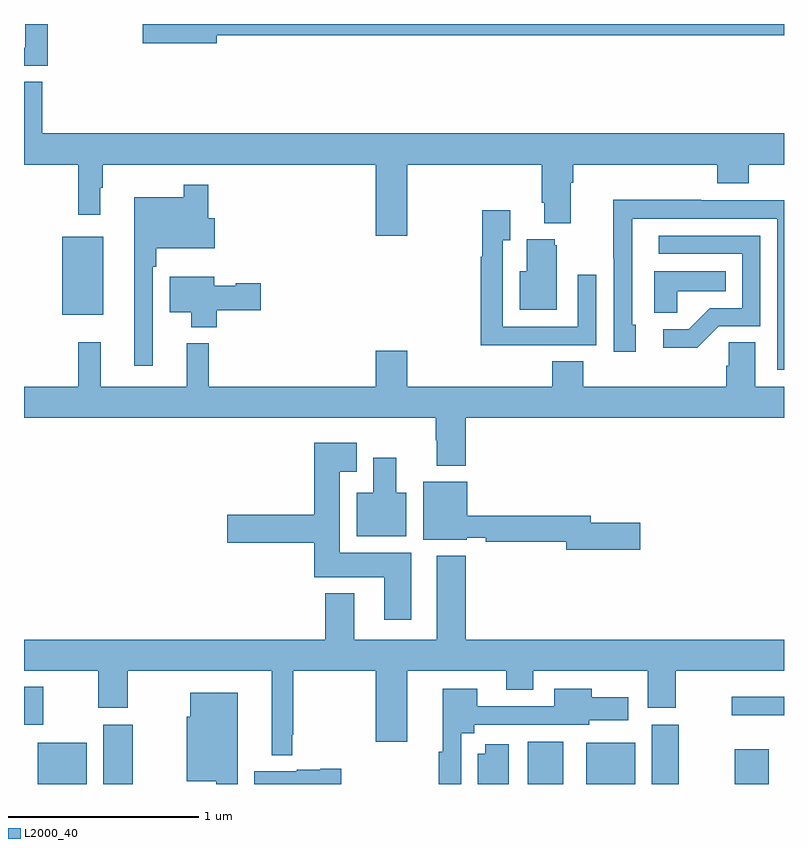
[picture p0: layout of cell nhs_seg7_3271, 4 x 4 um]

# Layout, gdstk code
import gdstk
lib = gdstk.Library(unit=1e-6, precision=1e-09)
def R(c, l, rs):  # rectangles x0, y0, x1, y1
    for r in rs: c.add(gdstk.rectangle(r[:2], r[2:], *l))
def P(c, l, *ps):  # polygons
    for p in ps: c.add(gdstk.Polygon(p, *l))
L2000_40 = (2000, 40)

nhs_seg7_3271 = lib.new_cell('nhs_seg7_3271')
R(nhs_seg7_3271, L2000_40, [(319.073,1020,319.33,1020.217), (319.418,1020,319.573,1020.313), (321.65,1020,321.838,1020.223), (321.959,1020,322.216,1020.217), (322.304,1020,322.446,1020.313), (322.742,1020,322.921,1020.184), (319,1020.312,319.101,1020.511), (322.725,1020.363,323,1020.46), (319.202,1022.471,319.417,1022.881)])
P(nhs_seg7_3271, L2000_40, [(319.126,1024),(319.007,1024),(319.007,1023.876),(319,1023.876),(319,1023.78),(319.126,1023.78)],
  [(320.014,1023.94),(323,1023.94),(323,1024),(319.626,1024),(319.626,1023.898),(320.014,1023.898)],
  [(319.096,1023.695),(319,1023.695),(319,1023.26),(319.285,1023.26),(319.285,1022.997),(319.402,1022.997),(319.402,1023.137),(319.414,1023.137),(319.414,1023.26),(320.852,1023.26),(320.852,1022.886),(321.016,1022.886),(321.016,1023.26),(321.725,1023.26),(321.725,1023.058),(321.737,1023.058),(321.737,1022.951),(321.877,1022.951),(321.877,1023.164),(321.89,1023.164),(321.89,1023.26),(322.649,1023.26),(322.649,1023.161),(322.814,1023.161),(322.814,1023.26),(323,1023.26),(323,1023.424),(319.096,1023.424)],
  [(319.677,1022.723),(319.697,1022.723),(319.697,1022.819),(320.005,1022.819),(320.005,1022.977),(319.97,1022.977),(319.97,1023.154),(319.842,1023.154),(319.842,1023.088),(319.58,1023.088),(319.58,1022.202),(319.677,1022.202)],
  [(323,1023.072),(322.565,1023.072),(322.565,1023.074),(322.102,1023.074),(322.102,1022.767),(322.104,1022.767),(322.104,1022.274),(322.219,1022.274),(322.219,1022.418),(322.2,1022.418),(322.2,1022.976),(322.965,1022.976),(322.965,1022.181),(323,1022.181)],
  [(321.695,1022.31),(322.011,1022.31),(322.011,1022.68),(321.915,1022.68),(321.915,1022.406),(321.519,1022.406),(321.519,1022.863),(321.559,1022.863),(321.559,1023.019),(321.411,1023.019),(321.411,1022.774),(321.403,1022.774),(321.403,1022.309),(321.695,1022.309)],
  [(322.656,1022.409),(322.875,1022.409),(322.875,1022.886),(322.341,1022.886),(322.341,1022.79),(322.779,1022.79),(322.779,1022.505),(322.61,1022.505),(322.499,1022.394),(322.365,1022.394),(322.365,1022.297),(322.543,1022.297)],
  [(321.805,1022.835),(321.794,1022.835),(321.794,1022.866),(321.647,1022.866),(321.647,1022.698),(321.608,1022.698),(321.608,1022.495),(321.805,1022.495)],
  [(322.437,1022.594),(322.694,1022.594),(322.694,1022.698),(322.316,1022.698),(322.316,1022.479),(322.437,1022.479)],
  [(320.015,1022.494),(320.245,1022.494),(320.245,1022.636),(320.115,1022.636),(320.115,1022.623),(320.002,1022.623),(320.002,1022.671),(319.766,1022.671),(319.766,1022.483),(319.88,1022.483),(319.88,1022.405),(320.015,1022.405)],
  [(321.326,1021.928),(323,1021.928),(323,1022.092),(322.849,1022.092),(322.849,1022.324),(322.71,1022.324),(322.71,1022.201),(322.697,1022.201),(322.697,1022.092),(321.944,1022.092),(321.944,1022.225),(321.779,1022.225),(321.779,1022.092),(321.016,1022.092),(321.016,1022.281),(320.852,1022.281),(320.852,1022.092),(319.973,1022.092),(319.973,1022.32),(319.856,1022.32),(319.856,1022.092),(319.403,1022.092),(319.403,1022.326),(319.285,1022.326),(319.285,1022.092),(319,1022.092),(319,1021.928),(321.166,1021.928),(321.166,1021.808),(321.173,1021.808),(321.173,1021.676),(321.326,1021.676)],
  [(321.037,1021.216),(320.662,1021.216),(320.662,1021.643),(320.752,1021.643),(320.752,1021.795),(320.528,1021.795),(320.528,1021.418),(320.07,1021.418),(320.07,1021.271),(320.528,1021.271),(320.528,1021.088),(320.897,1021.088),(320.897,1020.864),(321.037,1020.864)],
  [(321.013,1021.534),(320.959,1021.534),(320.959,1021.717),(320.837,1021.717),(320.837,1021.534),(320.75,1021.534),(320.75,1021.304),(321.013,1021.304)],
  [(322.243,1021.376),(321.982,1021.376),(321.982,1021.412),(321.334,1021.412),(321.334,1021.591),(321.101,1021.591),(321.101,1021.286),(321.33,1021.286),(321.33,1021.296),(321.43,1021.296),(321.43,1021.276),(321.854,1021.276),(321.854,1021.234),(322.243,1021.234)],
  [(320.413,1020.259),(320.417,1020.259),(320.417,1020.596),(320.852,1020.596),(320.852,1020.222),(321.016,1020.222),(321.016,1020.596),(321.539,1020.596),(321.539,1020.497),(321.679,1020.497),(321.679,1020.596),(322.283,1020.596),(322.283,1020.402),(322.431,1020.402),(322.431,1020.596),(323,1020.596),(323,1020.76),(321.326,1020.76),(321.326,1021.201),(321.173,1021.201),(321.173,1020.76),(320.737,1020.76),(320.737,1021.003),(320.585,1021.003),(320.585,1020.76),(319,1020.76),(319,1020.596),(319.39,1020.596),(319.39,1020.402),(319.545,1020.402),(319.545,1020.596),(320.303,1020.596),(320.303,1020.152),(320.413,1020.152)],
  [(321.3,1020.266),(321.37,1020.266),(321.37,1020.312),(321.975,1020.312),(321.975,1020.335),(322.18,1020.335),(322.18,1020.457),(321.987,1020.457),(321.987,1020.502),(321.791,1020.502),(321.791,1020.408),(321.385,1020.408),(321.385,1020.502),(321.203,1020.502),(321.203,1020.17),(321.184,1020.17),(321.184,1020),(321.3,1020)],
  [(320.125,1020.481),(319.874,1020.481),(319.874,1020.354),(319.856,1020.354),(319.856,1020.014),(320.011,1020.014),(320.011,1020),(320.125,1020)],
  [(321.55,1020.209),(321.428,1020.209),(321.428,1020.16),(321.389,1020.16),(321.389,1020),(321.55,1020)],
  [(320.671,1020.08),(320.558,1020.08),(320.558,1020.074),(320.436,1020.074),(320.436,1020.067),(320.213,1020.067),(320.213,1020),(320.671,1020)])

lib.write_gds('nhs_seg7_3271.gds')
